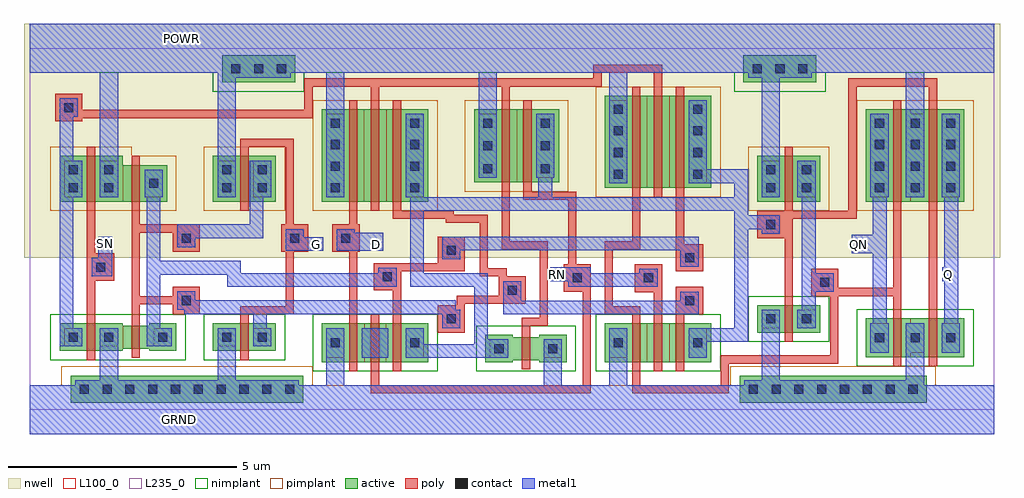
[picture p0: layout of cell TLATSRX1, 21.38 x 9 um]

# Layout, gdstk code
import gdstk
lib = gdstk.Library(unit=1e-6, precision=1e-09)
def R(c, l, rs):  # rectangles x0, y0, x1, y1
    for r in rs: c.add(gdstk.rectangle(r[:2], r[2:], *l))
def A(c, l, x, y, w, h, nx, ny, dx, dy):  # array of equal rectangles
    R(c, l, [(x+i*dx, y+j*dy, x+i*dx+w, y+j*dy+h) for i in range(nx) for j in range(ny)])
def P(c, l, *ps):  # polygons
    for p in ps: c.add(gdstk.Polygon(p, *l))
active = (1, 0)
nwell = (2, 0)
poly = (3, 0)
nimplant = (4, 0)
pimplant = (5, 0)
contact = (6, 0)
metal1 = (7, 0)
L100_0 = (100, 0)
L235_0 = (235, 0)

tlatsrx1 = lib.new_cell('TLATSRX1')
A(tlatsrx1, active, 6.99, 1.04, 0.18, 0.85, 3, 1, 0.48, 0)
A(tlatsrx1, active, 13.19, 1.04, 0.18, 0.85, 3, 1, 0.48, 0)
A(tlatsrx1, active, 18.31, 1.15, 0.6, 0.85, 3, 1, 0.78, 0)
A(tlatsrx1, active, 6.99, 4.56, 0.18, 2.02, 3, 1, 0.48, 0)
A(tlatsrx1, active, 18.31, 4.56, 0.6, 2.02, 3, 1, 0.78, 0)
A(tlatsrx1, active, 13.19, 4.86, 0.18, 2.02, 3, 1, 0.48, 0)
R(tlatsrx1, active, [(0.89,0.15,5.99,0.75), (15.545,0.15,19.645,0.75), (6.39,1.04,6.99,1.89), (7.17,1.04,7.77,1.89), (7.32,1.04,7.47,1.89), (7.35,1.04,7.95,1.89), (7.65,1.04,7.8,1.89), (8.13,1.04,8.73,1.89), (12.59,1.04,13.19,1.89), (13.07,1.04,13.67,1.89), (13.37,1.04,13.52,1.89), (13.85,1.04,14.45,1.89), (14,1.04,14.15,1.89), (14.33,1.04,14.93,1.89), (10.775,1.09,10.955,1.59), (18.91,1.15,19.09,2), (19.09,1.15,19.29,2), (19.69,1.15,19.87,2), (0.65,1.29,1.25,1.89), (1.25,1.29,1.43,1.89), (1.43,1.29,2.03,1.89), (4.01,1.29,4.61,1.89), (4.61,1.29,4.79,1.89), (4.79,1.29,5.39,1.89), (2.03,1.34,2.23,1.84), (2.23,1.34,2.41,1.84), (15.93,1.69,16.53,2.29), (16.53,1.69,16.71,2.29), (16.71,1.69,17.31,2.29), (0.65,4.56,1.25,5.56), (1.25,4.56,1.43,5.56), (1.43,4.56,2.03,5.56), (2.03,4.56,2.23,5.36), (2.23,4.56,2.41,5.36), (2.41,4.56,3.01,5.36), (4.01,4.56,4.61,5.56), (4.61,4.56,4.79,5.56), (4.79,4.56,5.39,5.56), (6.39,4.56,6.99,6.58), (6.87,4.56,7.47,6.58), (7.17,4.56,7.32,6.58), (7.65,4.56,8.25,6.58), (7.8,4.56,7.95,6.58), (8.13,4.56,8.73,6.58), (15.93,4.56,16.53,5.56), (16.53,4.56,16.71,5.56), (16.71,4.56,17.31,5.56), (18.91,4.56,19.09,6.58), (19.09,4.56,19.29,6.58), (19.69,4.56,19.87,6.58), (12.59,4.86,13.19,6.88), (13.07,4.86,13.67,6.88), (13.37,4.86,13.52,6.88), (13.85,4.86,14.45,6.88), (14,4.86,14.15,6.88), (14.33,4.86,14.93,6.88), (9.73,4.98,10.33,6.58), (10.33,4.98,10.51,6.58), (10.51,4.98,11.11,6.58), (10.66,4.98,10.81,6.58), (10.99,4.98,11.59,6.58), (4.21,7.17,5.81,7.77), (15.63,7.17,17.23,7.77)])
P(tlatsrx1, active, [(11.755,1.04),(11.155,1.04),(11.155,1.09),(10.955,1.09),(10.955,1.59),(11.155,1.59),(11.155,1.64),(11.755,1.64)],
  [(10.775,1.09),(10.575,1.09),(10.575,1.04),(9.975,1.04),(9.975,1.64),(10.575,1.64),(10.575,1.59),(10.775,1.59)],
  [(2.41,1.34),(2.61,1.34),(2.61,1.29),(3.21,1.29),(3.21,1.89),(2.61,1.89),(2.61,1.84),(2.41,1.84)])
R(tlatsrx1, nwell, [(-0.13,3.33,21.25,8.46), (0.15,4.06,2.53,6.06), (1.53,4.06,3.51,5.86), (3.51,4.06,5.89,6.06), (5.89,4.06,7.82,7.08), (6.37,4.06,8.75,7.08), (7.3,4.06,9.23,7.08), (15.43,4.06,17.81,6.06), (17.81,4.06,19.79,7.08), (18.59,4.06,20.97,7.08), (12.09,4.36,14.02,7.38), (12.57,4.36,14.95,7.38), (13.5,4.36,15.43,7.38), (9.23,4.48,11.61,7.08), (10.16,4.48,12.09,7.08)])
A(tlatsrx1, poly, 6.99, 0.84, 0.18, 1.25, 3, 1, 0.48, 0)
A(tlatsrx1, poly, 6.99, 0.84, 0.18, 0.2, 3, 2, 0.48, 1.05)
A(tlatsrx1, poly, 13.19, 0.84, 0.18, 1.25, 3, 1, 0.48, 0)
A(tlatsrx1, poly, 13.19, 0.84, 0.18, 0.2, 3, 2, 0.48, 1.05)
A(tlatsrx1, poly, 2.23, 4.36, 0.18, 0.2, 3, 1, 2.38, 0)
A(tlatsrx1, poly, 6.99, 4.36, 0.18, 2.42, 3, 1, 0.48, 0)
A(tlatsrx1, poly, 13.19, 4.66, 0.18, 0.2, 3, 2, 0.48, 2.22)
A(tlatsrx1, poly, 13.19, 4.66, 0.18, 2.42, 3, 1, 0.48, 0)
A(tlatsrx1, poly, 6.99, 6.58, 0.18, 0.2, 3, 1, 0.48, 0)
R(tlatsrx1, poly, [(10.775,0.89,10.955,1.09), (10.775,0.89,10.955,1.79), (18.91,0.95,19.09,2.2), (18.91,0.95,19.09,1.15), (19.69,0.95,19.87,2.2), (19.69,0.95,19.87,1.15), (1.25,1.09,1.43,1.29), (1.25,1.09,1.43,2.09), (4.61,1.09,4.79,1.29), (4.61,1.09,4.79,2.09), (2.23,1.14,2.41,1.34), (2.23,1.14,2.41,2.04), (16.53,1.49,16.71,1.69), (16.53,1.49,16.71,2.49), (10.775,1.59,10.955,1.79), (8.93,1.69,9.53,2.29), (2.23,1.84,2.41,2.04), (1.25,1.89,1.43,2.09), (4.61,1.89,4.79,2.09), (18.91,2,19.09,2.2), (19.69,2,19.87,2.2), (14.15,2.09,14.75,2.69), (3.125,2.095,3.725,2.695), (16.53,2.29,16.71,2.49), (10.265,2.32,10.865,2.92), (17.11,2.49,17.71,3.09), (11.69,2.59,12.29,3.19), (13.25,2.59,13.85,3.19), (7.53,2.615,8.13,3.215), (1.25,2.825,1.85,3.425), (14.15,3.03,14.75,3.63), (8.93,3.195,9.53,3.795), (3.125,3.46,3.725,4.06), (5.5,3.46,6.1,4.06), (6.62,3.46,7.22,4.06), (15.93,3.76,16.53,4.36), (1.25,4.36,1.43,4.56), (1.25,4.36,1.43,5.76), (2.23,4.36,2.41,5.56), (4.61,4.36,4.79,5.76), (7.47,4.36,7.65,4.56), (7.95,4.36,8.13,4.56), (16.53,4.36,16.71,4.56), (16.53,4.36,16.71,5.76), (18.91,4.36,19.09,4.56), (18.91,4.36,19.09,6.78), (19.69,4.36,19.87,4.56), (19.69,4.36,19.87,6.78), (10.33,4.78,10.51,4.98), (10.33,4.78,10.51,6.78), (10.81,4.78,10.99,4.98), (10.81,4.78,10.99,6.78), (2.23,5.36,2.41,5.56), (1.25,5.56,1.43,5.76), (4.61,5.56,4.79,5.76), (16.53,5.56,16.71,5.76), (0.55,6.32,1.15,6.92), (10.33,6.58,10.51,6.78), (10.81,6.58,10.99,6.78), (18.91,6.58,19.09,6.78), (19.69,6.58,19.87,6.78)])
R(tlatsrx1, nimplant, [(6.19,0.84,7.97,2.09), (7.12,0.84,8,2.09), (7.15,0.84,8.93,2.09), (9.775,0.84,11.955,1.84), (12.39,0.84,13.72,2.09), (12.87,0.84,14.65,2.09), (13.8,0.84,15.13,2.09), (18.11,0.95,19.49,2.2), (18.89,0.95,20.67,2.2), (0.45,1.09,2.23,2.09), (1.83,1.09,3.41,2.09), (3.81,1.09,5.59,2.09), (15.73,1.49,17.51,2.49), (4.01,6.97,6.01,7.97), (15.43,6.97,17.43,7.97), (0,7.38,21.12,8.46)])
R(tlatsrx1, pimplant, [(0,-0.54,21.12,0.54), (0.69,-0.05,6.19,0.95), (15.345,-0.05,19.845,0.95), (0.45,4.36,2.23,5.76), (1.83,4.36,3.21,5.56), (3.81,4.36,5.59,5.76), (6.19,4.36,7.52,6.78), (6.67,4.36,8.45,6.78), (7.6,4.36,8.93,6.78), (15.73,4.36,17.51,5.76), (18.11,4.36,19.49,6.78), (18.89,4.36,20.67,6.78), (12.39,4.66,13.72,7.08), (12.87,4.66,14.65,7.08), (13.8,4.66,15.13,7.08), (9.53,4.78,11.31,6.78), (10.46,4.78,11.79,6.78)])
A(tlatsrx1, contact, 1.09, 0.35, 0.2, 0.2, 10, 1, 0.5, 0)
A(tlatsrx1, contact, 15.745, 0.35, 0.2, 0.2, 8, 1, 0.5, 0)
A(tlatsrx1, contact, 18.51, 1.475, 0.2, 0.2, 3, 2, 0.78, 3.285)
A(tlatsrx1, contact, 6.59, 4.76, 0.2, 0.2, 1, 3, 0, 0.475)
A(tlatsrx1, contact, 8.33, 4.76, 0.2, 0.2, 1, 3, 0, 0.475)
A(tlatsrx1, contact, 12.79, 5.06, 0.2, 0.2, 1, 3, 0, 0.475)
A(tlatsrx1, contact, 14.53, 5.06, 0.2, 0.2, 1, 3, 0, 0.475)
A(tlatsrx1, contact, 9.93, 5.18, 0.2, 0.2, 1, 3, 0, 0.5)
A(tlatsrx1, contact, 11.19, 5.18, 0.2, 0.2, 1, 3, 0, 0.5)
A(tlatsrx1, contact, 18.51, 5.235, 0.2, 0.2, 3, 2, 0.78, 0.475)
A(tlatsrx1, contact, 18.51, 6.18, 0.2, 0.2, 3, 1, 0.78, 0)
A(tlatsrx1, contact, 4.41, 7.37, 0.2, 0.2, 3, 1, 0.5, 0)
A(tlatsrx1, contact, 15.83, 7.37, 0.2, 0.2, 3, 1, 0.5, 0)
R(tlatsrx1, contact, [(10.175,1.24,10.375,1.44), (11.355,1.24,11.555,1.44), (6.59,1.365,6.79,1.565), (8.33,1.365,8.53,1.565), (12.79,1.365,12.99,1.565), (14.53,1.365,14.73,1.565), (0.85,1.49,1.05,1.69), (1.63,1.49,1.83,1.69), (2.81,1.49,3.01,1.69), (4.21,1.49,4.41,1.69), (4.99,1.49,5.19,1.69), (9.13,1.89,9.33,2.09), (16.13,1.89,16.33,2.09), (16.91,1.89,17.11,2.09), (14.35,2.29,14.55,2.49), (3.325,2.295,3.525,2.495), (10.465,2.52,10.665,2.72), (17.31,2.69,17.51,2.89), (11.89,2.79,12.09,2.99), (13.45,2.79,13.65,2.99), (7.73,2.815,7.93,3.015), (1.45,3.025,1.65,3.225), (14.35,3.23,14.55,3.43), (9.13,3.395,9.33,3.595), (3.325,3.66,3.525,3.86), (5.7,3.66,5.9,3.86), (6.82,3.66,7.02,3.86), (16.13,3.96,16.33,4.16), (0.85,4.76,1.05,4.96), (1.63,4.76,1.83,4.96), (4.21,4.76,4.41,4.96), (4.99,4.76,5.19,4.96), (16.13,4.76,16.33,4.96), (16.91,4.76,17.11,4.96), (2.61,4.86,2.81,5.06), (0.85,5.16,1.05,5.36), (1.63,5.16,1.83,5.36), (4.21,5.16,4.41,5.36), (4.99,5.16,5.19,5.36), (16.13,5.16,16.33,5.36), (16.91,5.16,17.11,5.36), (6.59,6.18,6.79,6.38), (8.33,6.18,8.53,6.38), (12.79,6.48,12.99,6.68), (14.53,6.48,14.73,6.68), (0.75,6.52,0.95,6.72)])
R(tlatsrx1, metal1, [(0,-0.54,21.12,0.54), (0.99,0.25,5.89,0.65), (15.645,0.25,19.545,0.65), (9.03,1.79,9.43,2.19), (10.365,2.09,10.765,2.56), (14.25,2.19,14.65,2.59), (3.225,2.195,3.625,2.595), (10.365,2.42,10.765,2.82), (17.21,2.59,17.61,2.99), (11.79,2.69,12.19,3.09), (13.35,2.69,13.75,3.09), (7.63,2.715,8.03,3.115), (11.4,2.82,11.7,3.12), (19.98,2.82,20.28,3.12), (1.35,2.925,1.75,3.325), (14.25,3.13,14.65,3.53), (9.03,3.295,9.43,3.695), (6.12,3.48,6.42,3.78), (7.44,3.48,7.74,3.78), (18,3.48,18.3,3.78), (1.5,3.49,1.8,3.79), (3.225,3.56,3.625,3.96), (5.6,3.56,6,3.96), (6.72,3.56,7.12,3.96), (16.03,3.86,16.43,4.26), (0.65,6.42,1.05,6.82), (4.31,7.27,5.71,7.67), (15.73,7.27,17.13,7.67), (15.805,7.27,16.08,7.4), (0,7.38,21.12,8.46)])
A(tlatsrx1, L100_0, 18.41, 1.25, 0.4, 0.65, 3, 1, 0.78, 0)
A(tlatsrx1, L100_0, 18.41, 4.66, 0.4, 1.82, 3, 1, 0.78, 0)
R(tlatsrx1, L100_0, [(7.32,1.04,7.47,1.89), (7.65,1.04,7.8,1.89), (13.37,1.04,13.52,1.89), (14,1.04,14.15,1.89), (6.49,1.14,6.89,1.79), (7.27,1.14,7.67,1.79), (7.45,1.14,7.85,1.79), (8.23,1.14,8.63,1.79), (10.075,1.14,10.475,1.54), (11.255,1.14,11.655,1.54), (12.69,1.14,13.09,1.79), (14.43,1.14,14.83,1.79), (19.09,1.15,19.29,2), (2.03,1.34,2.23,1.84), (0.75,1.39,1.15,1.79), (1.53,1.39,1.93,1.79), (2.71,1.39,3.11,1.79), (4.11,1.39,4.51,1.79), (4.89,1.39,5.29,1.79), (16.03,1.79,16.43,2.19), (16.81,1.79,17.21,2.19), (2.03,4.56,2.23,5.36), (7.17,4.56,7.32,6.58), (7.8,4.56,7.95,6.58), (19.09,4.56,19.29,6.58), (0.75,4.66,1.15,5.46), (1.53,4.66,1.93,5.46), (2.51,4.66,2.91,5.26), (4.11,4.66,4.51,5.46), (4.89,4.66,5.29,5.46), (6.49,4.66,6.89,6.48), (8.23,4.66,8.63,6.48), (16.03,4.66,16.43,5.46), (16.81,4.66,17.21,5.46), (13.37,4.86,13.52,6.88), (14,4.86,14.15,6.88), (12.69,4.96,13.09,6.78), (14.43,4.96,14.83,6.78), (10.66,4.98,10.81,6.58), (9.83,5.08,10.23,6.48), (11.09,5.08,11.49,6.48)])
R(tlatsrx1, L235_0, [(0,0,21.12,7.92)])
tlatsrx1.add(gdstk.FlexPath([(13.28,0.84),(13.28,0.45),(15.22,0.45),(15.22,1.1),(17.62,1.1),(17.62,3.09)], 0.18, ends="flush", simple_path=True, layer=3, datatype=0))  # poly
tlatsrx1.add(gdstk.FlexPath([(13.28,4.665),(13.28,3.6),(12.68,3.6),(12.68,2.18),(13.37,2.18)], 0.18, ends="flush", simple_path=True, layer=3, datatype=0))  # poly
tlatsrx1.add(gdstk.FlexPath([(8.04,1.995),(8.04,2.715)], 0.18, ends="flush", simple_path=True, layer=3, datatype=0))  # poly
tlatsrx1.add(gdstk.FlexPath([(4.7,5.65),(4.7,5.85),(5.69,5.85),(5.69,2.18),(4.61,2.18)], 0.18, ends="flush", simple_path=True, layer=3, datatype=0))  # poly
tlatsrx1.add(gdstk.FlexPath([(9.44,1.95),(9.44,2.41),(10.725,2.41)], 0.18, ends="flush", simple_path=True, layer=3, datatype=0))  # poly
tlatsrx1.add(gdstk.FlexPath([(7.625,3.125),(9.53,3.125)], 0.18, ends="flush", simple_path=True, layer=3, datatype=0))  # poly
tlatsrx1.add(gdstk.FlexPath([(7.56,0.84),(7.56,0.45),(12.2,0.45),(12.2,2.68),(11.88,2.68),(11.88,4.69),(10.81,4.69)], 0.18, ends="flush", simple_path=True, layer=3, datatype=0))  # poly
tlatsrx1.add(gdstk.FlexPath([(13.76,7.035),(13.76,7.47),(12.435,7.47),(12.435,7.17),(10.42,7.17)], 0.18, ends="flush", simple_path=True, layer=3, datatype=0))  # poly
tlatsrx1.add(gdstk.FlexPath([(19.78,6.685),(19.78,7.17),(18.02,7.17),(18.02,4.27),(16.53,4.27)], 0.18, ends="flush", simple_path=True, layer=3, datatype=0))  # poly
tlatsrx1.add(gdstk.FlexPath([(10.865,1.745),(10.865,2.02)], 0.18, ends="flush", simple_path=True, layer=3, datatype=0))  # poly
tlatsrx1.add(gdstk.FlexPath([(19.78,1.975),(19.78,4.47)], 0.18, ends="flush", simple_path=True, layer=3, datatype=0))  # poly
tlatsrx1.add(gdstk.FlexPath([(14.24,4.66),(14.24,3.27)], 0.18, ends="flush", simple_path=True, layer=3, datatype=0))  # poly
tlatsrx1.add(gdstk.FlexPath([(2.32,2.04),(2.32,4.455)], 0.18, ends="flush", simple_path=True, layer=3, datatype=0))  # poly
tlatsrx1.add(gdstk.FlexPath([(2.31,2.4),(3.315,2.4)], 0.18, ends="flush", simple_path=True, layer=3, datatype=0))  # poly
tlatsrx1.add(gdstk.FlexPath([(2.34,3.97),(3.43,3.97)], 0.18, ends="flush", simple_path=True, layer=3, datatype=0))  # poly
tlatsrx1.add(gdstk.FlexPath([(10.42,4.78),(10.42,3.6),(11.255,3.6),(11.255,1.93),(10.775,1.93)], 0.18, ends="flush", simple_path=True, layer=3, datatype=0))  # poly
tlatsrx1.add(gdstk.FlexPath([(13.76,2.045),(13.76,2.66),(13.25,2.66)], 0.18, ends="flush", simple_path=True, layer=3, datatype=0))  # poly
tlatsrx1.add(gdstk.FlexPath([(1.34,2.09),(1.34,4.455)], 0.18, ends="flush", simple_path=True, layer=3, datatype=0))  # poly
tlatsrx1.add(gdstk.FlexPath([(10.355,2.74),(10.355,3.01),(9.94,3.01),(9.94,4.185),(9.195,4.185),(9.195,4.27),(7.95,4.27)], 0.18, ends="flush", simple_path=True, layer=3, datatype=0))  # poly
tlatsrx1.add(gdstk.FlexPath([(7.08,4.46),(7.08,2.05)], 0.18, ends="flush", simple_path=True, layer=3, datatype=0))  # poly
tlatsrx1.add(gdstk.FlexPath([(16.62,2.49),(16.62,4.455)], 0.18, ends="flush", simple_path=True, layer=3, datatype=0))  # poly
tlatsrx1.add(gdstk.FlexPath([(10.42,6.67),(10.42,7.17),(7.56,7.17),(7.56,6.69)], 0.18, ends="flush", simple_path=True, layer=3, datatype=0))  # poly
tlatsrx1.add(gdstk.FlexPath([(7.555,7.17),(6.1,7.17),(6.1,6.48),(0.875,6.48)], 0.18, ends="flush", simple_path=True, layer=3, datatype=0))  # poly
tlatsrx1.add(gdstk.FlexPath([(19,2.94),(19,2.58),(17.375,2.58)], 0.18, ends="flush", simple_path=True, layer=3, datatype=0))  # poly
tlatsrx1.add(gdstk.FlexPath([(19,2.13),(19,4.36)], 0.18, ends="flush", simple_path=True, layer=3, datatype=0))  # poly
tlatsrx1.add(gdstk.FlexPath([(19.39,1.25),(19.39,1.9)], 0.4, ends="flush", simple_path=True, layer=7, datatype=0))  # metal1
tlatsrx1.add(gdstk.FlexPath([(20.17,1.25),(20.17,1.9)], 0.4, ends="flush", simple_path=True, layer=7, datatype=0))  # metal1
tlatsrx1.add(gdstk.FlexPath([(16.23,1.79),(16.23,2.19)], 0.4, ends="flush", simple_path=True, layer=7, datatype=0))  # metal1
tlatsrx1.add(gdstk.FlexPath([(17.01,1.79),(17.01,2.19)], 0.4, ends="flush", simple_path=True, layer=7, datatype=0))  # metal1
tlatsrx1.add(gdstk.FlexPath([(4.31,1.39),(4.31,1.79)], 0.4, ends="flush", simple_path=True, layer=7, datatype=0))  # metal1
tlatsrx1.add(gdstk.FlexPath([(5.09,1.39),(5.09,1.79)], 0.4, ends="flush", simple_path=True, layer=7, datatype=0))  # metal1
tlatsrx1.add(gdstk.FlexPath([(0.95,1.39),(0.95,1.79)], 0.4, ends="flush", simple_path=True, layer=7, datatype=0))  # metal1
tlatsrx1.add(gdstk.FlexPath([(1.73,1.39),(1.73,1.79)], 0.4, ends="flush", simple_path=True, layer=7, datatype=0))  # metal1
tlatsrx1.add(gdstk.FlexPath([(8.43,1.14),(8.43,1.79)], 0.4, ends="flush", simple_path=True, layer=7, datatype=0))  # metal1
tlatsrx1.add(gdstk.FlexPath([(7.65,1.14),(7.65,1.79)], 0.4, ends="flush", simple_path=True, layer=7, datatype=0))  # metal1
tlatsrx1.add(gdstk.FlexPath([(6.69,1.14),(6.69,1.79)], 0.4, ends="flush", simple_path=True, layer=7, datatype=0))  # metal1
tlatsrx1.add(gdstk.FlexPath([(7.47,1.14),(7.47,1.79)], 0.4, ends="flush", simple_path=True, layer=7, datatype=0))  # metal1
tlatsrx1.add(gdstk.FlexPath([(14.63,1.14),(14.63,1.79)], 0.4, ends="flush", simple_path=True, layer=7, datatype=0))  # metal1
tlatsrx1.add(gdstk.FlexPath([(12.89,1.14),(12.89,1.79)], 0.4, ends="flush", simple_path=True, layer=7, datatype=0))  # metal1
tlatsrx1.add(gdstk.FlexPath([(16.23,4.66),(16.23,5.46)], 0.4, ends="flush", simple_path=True, layer=7, datatype=0))  # metal1
tlatsrx1.add(gdstk.FlexPath([(17.01,4.66),(17.01,5.46)], 0.4, ends="flush", simple_path=True, layer=7, datatype=0))  # metal1
tlatsrx1.add(gdstk.FlexPath([(4.31,4.66),(4.31,5.46)], 0.4, ends="flush", simple_path=True, layer=7, datatype=0))  # metal1
tlatsrx1.add(gdstk.FlexPath([(5.09,4.66),(5.09,5.46)], 0.4, ends="flush", simple_path=True, layer=7, datatype=0))  # metal1
tlatsrx1.add(gdstk.FlexPath([(1.73,5.46),(1.73,4.66)], 0.4, ends="flush", simple_path=True, layer=7, datatype=0))  # metal1
tlatsrx1.add(gdstk.FlexPath([(0.95,5.46),(0.95,4.66)], 0.4, ends="flush", simple_path=True, layer=7, datatype=0))  # metal1
tlatsrx1.add(gdstk.FlexPath([(18.61,4.66),(18.61,6.48)], 0.4, ends="flush", simple_path=True, layer=7, datatype=0))  # metal1
tlatsrx1.add(gdstk.FlexPath([(2.71,4.66),(2.71,5.26)], 0.4, ends="flush", simple_path=True, layer=7, datatype=0))  # metal1
tlatsrx1.add(gdstk.FlexPath([(14.63,4.96),(14.63,6.78)], 0.4, ends="flush", simple_path=True, layer=7, datatype=0))  # metal1
tlatsrx1.add(gdstk.FlexPath([(8.43,4.66),(8.43,6.48)], 0.4, ends="flush", simple_path=True, layer=7, datatype=0))  # metal1
tlatsrx1.add(gdstk.FlexPath([(12.89,4.96),(12.89,6.78)], 0.4, ends="flush", simple_path=True, layer=7, datatype=0))  # metal1
tlatsrx1.add(gdstk.FlexPath([(10.03,5.08),(10.03,6.48)], 0.4, ends="flush", simple_path=True, layer=7, datatype=0))  # metal1
tlatsrx1.add(gdstk.FlexPath([(11.29,5.08),(11.29,6.48)], 0.4, ends="flush", simple_path=True, layer=7, datatype=0))  # metal1
tlatsrx1.add(gdstk.FlexPath([(6.69,4.66),(6.69,6.48)], 0.4, ends="flush", simple_path=True, layer=7, datatype=0))  # metal1
tlatsrx1.add(gdstk.FlexPath([(11.4,2.97),(12.29,2.97)], 0.3, ends="flush", simple_path=True, layer=7, datatype=0))  # metal1
tlatsrx1.add(gdstk.FlexPath([(8.03,2.845),(4.47,2.845),(4.47,3.11),(2.705,3.11)], 0.3, ends="flush", simple_path=True, layer=7, datatype=0))  # metal1
tlatsrx1.add(gdstk.FlexPath([(18,3.63),(18.6,3.63)], 0.4, ends="flush", simple_path=True, layer=7, datatype=0))  # metal1
tlatsrx1.add(gdstk.FlexPath([(11.455,1.14),(11.455,1.54)], 0.4, ends="flush", simple_path=True, layer=7, datatype=0))  # metal1
tlatsrx1.add(gdstk.FlexPath([(10.275,1.14),(10.275,1.54)], 0.4, ends="flush", simple_path=True, layer=7, datatype=0))  # metal1
tlatsrx1.add(gdstk.FlexPath([(19.39,4.66),(19.39,6.48)], 0.4, ends="flush", simple_path=True, layer=7, datatype=0))  # metal1
tlatsrx1.add(gdstk.FlexPath([(20.17,4.66),(20.17,6.48)], 0.4, ends="flush", simple_path=True, layer=7, datatype=0))  # metal1
tlatsrx1.add(gdstk.FlexPath([(14.635,5.115),(15.58,5.115),(15.58,1.64),(14.76,1.64)], 0.3, ends="flush", simple_path=True, layer=7, datatype=0))  # metal1
tlatsrx1.add(gdstk.FlexPath([(8.48,4.715),(8.48,2.845),(9.88,2.845),(9.88,1.39),(9.925,1.39),(9.925,1.14)], 0.3, ends="flush", simple_path=True, layer=7, datatype=0))  # metal1
tlatsrx1.add(gdstk.FlexPath([(11.455,0),(11.455,1.195)], 0.4, ends="flush", simple_path=True, layer=7, datatype=0))  # metal1
tlatsrx1.add(gdstk.FlexPath([(8.48,4.51),(15.58,4.51)], 0.3, ends="flush", simple_path=True, layer=7, datatype=0))  # metal1
tlatsrx1.add(gdstk.FlexPath([(14.65,3.645),(9.03,3.645)], 0.3, ends="flush", simple_path=True, layer=7, datatype=0))  # metal1
tlatsrx1.add(gdstk.FlexPath([(11.79,2.84),(13.45,2.84)], 0.3, ends="flush", simple_path=True, layer=7, datatype=0))  # metal1
tlatsrx1.add(gdstk.FlexPath([(6.42,3.63),(5.6,3.63)], 0.3, ends="flush", simple_path=True, layer=7, datatype=0))  # metal1
tlatsrx1.add(gdstk.FlexPath([(11.29,5.18),(11.29,4.36)], 0.3, ends="flush", simple_path=True, layer=7, datatype=0))  # metal1
tlatsrx1.add(gdstk.FlexPath([(14.65,2.24),(10.365,2.24)], 0.3, ends="flush", simple_path=True, layer=7, datatype=0))  # metal1
tlatsrx1.add(gdstk.FlexPath([(4.94,2.245),(9.18,2.245),(9.18,1.92)], 0.3, ends="flush", simple_path=True, layer=7, datatype=0))  # metal1
tlatsrx1.add(gdstk.FlexPath([(0.8,5.285),(0.8,6.66)], 0.3, ends="flush", simple_path=True, layer=7, datatype=0))  # metal1
tlatsrx1.add(gdstk.FlexPath([(4.96,5.46),(4.96,3.91),(3.225,3.91)], 0.3, ends="flush", simple_path=True, layer=7, datatype=0))  # metal1
tlatsrx1.add(gdstk.FlexPath([(8.435,1.29),(10.075,1.29)], 0.3, ends="flush", simple_path=True, layer=7, datatype=0))  # metal1
tlatsrx1.add(gdstk.FlexPath([(19.39,6.135),(19.39,7.92)], 0.4, ends="flush", simple_path=True, layer=7, datatype=0))  # metal1
tlatsrx1.add(gdstk.FlexPath([(1.73,0),(1.73,1.69)], 0.4, ends="flush", simple_path=True, layer=7, datatype=0))  # metal1
tlatsrx1.add(gdstk.FlexPath([(6.69,6.135),(6.69,7.92)], 0.4, ends="flush", simple_path=True, layer=7, datatype=0))  # metal1
tlatsrx1.add(gdstk.FlexPath([(20.18,1.69),(20.18,4.835)], 0.3, ends="flush", simple_path=True, layer=7, datatype=0))  # metal1
tlatsrx1.add(gdstk.FlexPath([(0.8,1.39),(0.8,5.46)], 0.3, ends="flush", simple_path=True, layer=7, datatype=0))  # metal1
tlatsrx1.add(gdstk.FlexPath([(6.69,0),(6.69,1.14)], 0.4, ends="flush", simple_path=True, layer=7, datatype=0))  # metal1
tlatsrx1.add(gdstk.FlexPath([(2.705,4.7),(2.705,1.39)], 0.3, ends="flush", simple_path=True, layer=7, datatype=0))  # metal1
tlatsrx1.add(gdstk.FlexPath([(10.03,6.135),(10.03,7.92)], 0.4, ends="flush", simple_path=True, layer=7, datatype=0))  # metal1
tlatsrx1.add(gdstk.FlexPath([(12.89,6.135),(12.89,7.92)], 0.4, ends="flush", simple_path=True, layer=7, datatype=0))  # metal1
tlatsrx1.add(gdstk.FlexPath([(16.23,5.415),(16.23,7.92)], 0.4, ends="flush", simple_path=True, layer=7, datatype=0))  # metal1
tlatsrx1.add(gdstk.FlexPath([(12.89,0),(12.89,1.195)], 0.4, ends="flush", simple_path=True, layer=7, datatype=0))  # metal1
tlatsrx1.add(gdstk.FlexPath([(16.23,0),(16.23,1.835)], 0.4, ends="flush", simple_path=True, layer=7, datatype=0))  # metal1
tlatsrx1.add(gdstk.FlexPath([(19.39,-0.005),(19.39,1.345)], 0.4, ends="flush", simple_path=True, layer=7, datatype=0))  # metal1
tlatsrx1.add(gdstk.FlexPath([(1.73,5.415),(1.73,7.92)], 0.4, ends="flush", simple_path=True, layer=7, datatype=0))  # metal1
tlatsrx1.add(gdstk.FlexPath([(18.615,1.65),(18.615,4.76)], 0.3, ends="flush", simple_path=True, layer=7, datatype=0))  # metal1
tlatsrx1.add(gdstk.FlexPath([(15.585,4.11),(16.26,4.11)], 0.3, ends="flush", simple_path=True, layer=7, datatype=0))  # metal1
tlatsrx1.add(gdstk.FlexPath([(17.06,1.79),(17.06,4.96)], 0.3, ends="flush", simple_path=True, layer=7, datatype=0))  # metal1
tlatsrx1.add(gdstk.FlexPath([(18.61,1.25),(18.61,1.9)], 0.4, ends="flush", simple_path=True, layer=7, datatype=0))  # metal1
tlatsrx1.add(gdstk.FlexPath([(2.91,1.39),(2.91,1.79)], 0.4, ends="flush", simple_path=True, layer=7, datatype=0))  # metal1
tlatsrx1.add(gdstk.FlexPath([(5.04,1.44),(5.04,2.245),(3.385,2.245)], 0.3, ends="flush", simple_path=True, layer=7, datatype=0))  # metal1
tlatsrx1.add(gdstk.FlexPath([(4.31,5.415),(4.31,7.92)], 0.4, ends="flush", simple_path=True, layer=7, datatype=0))  # metal1
tlatsrx1.add(gdstk.FlexPath([(4.31,0),(4.31,1.5)], 0.4, ends="flush", simple_path=True, layer=7, datatype=0))  # metal1
tlatsrx1.add(gdstk.FlexPath([(7.74,3.68),(6.72,3.68)], 0.4, ends="flush", simple_path=True, layer=7, datatype=0))  # metal1
tlatsrx1.add(gdstk.FlexPath([(1.65,2.92),(1.65,3.78)], 0.3, ends="flush", simple_path=True, layer=7, datatype=0))  # metal1
tlatsrx1.add(gdstk.Label('GRND', (3.28,-0.21), layer=230, texttype=0))
tlatsrx1.add(gdstk.Label('QN', (18.15,3.63), layer=230, texttype=0))
tlatsrx1.add(gdstk.Label('SN', (1.65,3.64), layer=230, texttype=0))
tlatsrx1.add(gdstk.Label('D', (7.59,3.63), layer=230, texttype=0))
tlatsrx1.add(gdstk.Label('POWR', (3.32,8.14), layer=230, texttype=0))
tlatsrx1.add(gdstk.Label('Q', (20.13,2.97), layer=230, texttype=0))
tlatsrx1.add(gdstk.Label('RN', (11.55,2.97), layer=230, texttype=0))
tlatsrx1.add(gdstk.Label('G', (6.27,3.63), layer=230, texttype=0))

lib.write_gds('TLATSRX1.gds')
